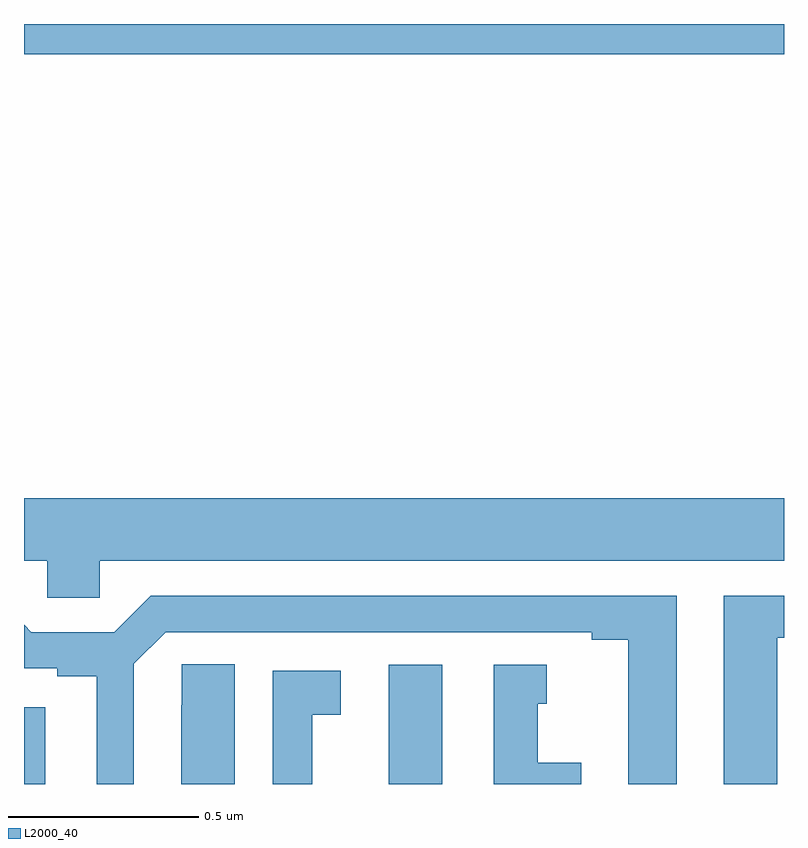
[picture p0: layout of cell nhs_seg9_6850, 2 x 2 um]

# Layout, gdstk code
import gdstk
lib = gdstk.Library(unit=1e-6, precision=1e-09)
def R(c, l, rs):  # rectangles x0, y0, x1, y1
    for r in rs: c.add(gdstk.rectangle(r[:2], r[2:], *l))
def P(c, l, *ps):  # polygons
    for p in ps: c.add(gdstk.Polygon(p, *l))
L2000_40 = (2000, 40)

nhs_seg9_6850 = lib.new_cell('nhs_seg9_6850')
R(nhs_seg9_6850, L2000_40, [(197,1194.5,197.056,1194.702), (197.96,1194.5,198.1,1194.814), (197,1196.42,199,1196.5)])
P(nhs_seg9_6850, L2000_40, [(197.199,1195.088),(199,1195.088),(199,1195.252),(197,1195.252),(197,1195.088),(197.061,1195.088),(197.061,1194.99),(197.199,1194.99)],
  [(198.982,1194.885),(199,1194.885),(199,1194.996),(198.842,1194.996),(198.842,1194.5),(198.982,1194.5)],
  [(197.289,1194.816),(197.373,1194.9),(198.494,1194.9),(198.494,1194.88),(198.59,1194.88),(198.59,1194.5),(198.718,1194.5),(198.718,1194.996),(197.333,1194.996),(197.237,1194.9),(197.019,1194.9),(197,1194.919),(197,1194.804),(197.088,1194.804),(197.088,1194.784),(197.192,1194.784),(197.192,1194.5),(197.289,1194.5)],
  [(197.554,1194.815),(197.415,1194.815),(197.415,1194.707),(197.414,1194.707),(197.414,1194.5),(197.554,1194.5)],
  [(198.466,1194.556),(198.352,1194.556),(198.352,1194.711),(198.376,1194.711),(198.376,1194.814),(198.236,1194.814),(198.236,1194.5),(198.466,1194.5)],
  [(197.758,1194.682),(197.833,1194.682),(197.833,1194.798),(197.654,1194.798),(197.654,1194.5),(197.758,1194.5)])

lib.write_gds('nhs_seg9_6850.gds')
